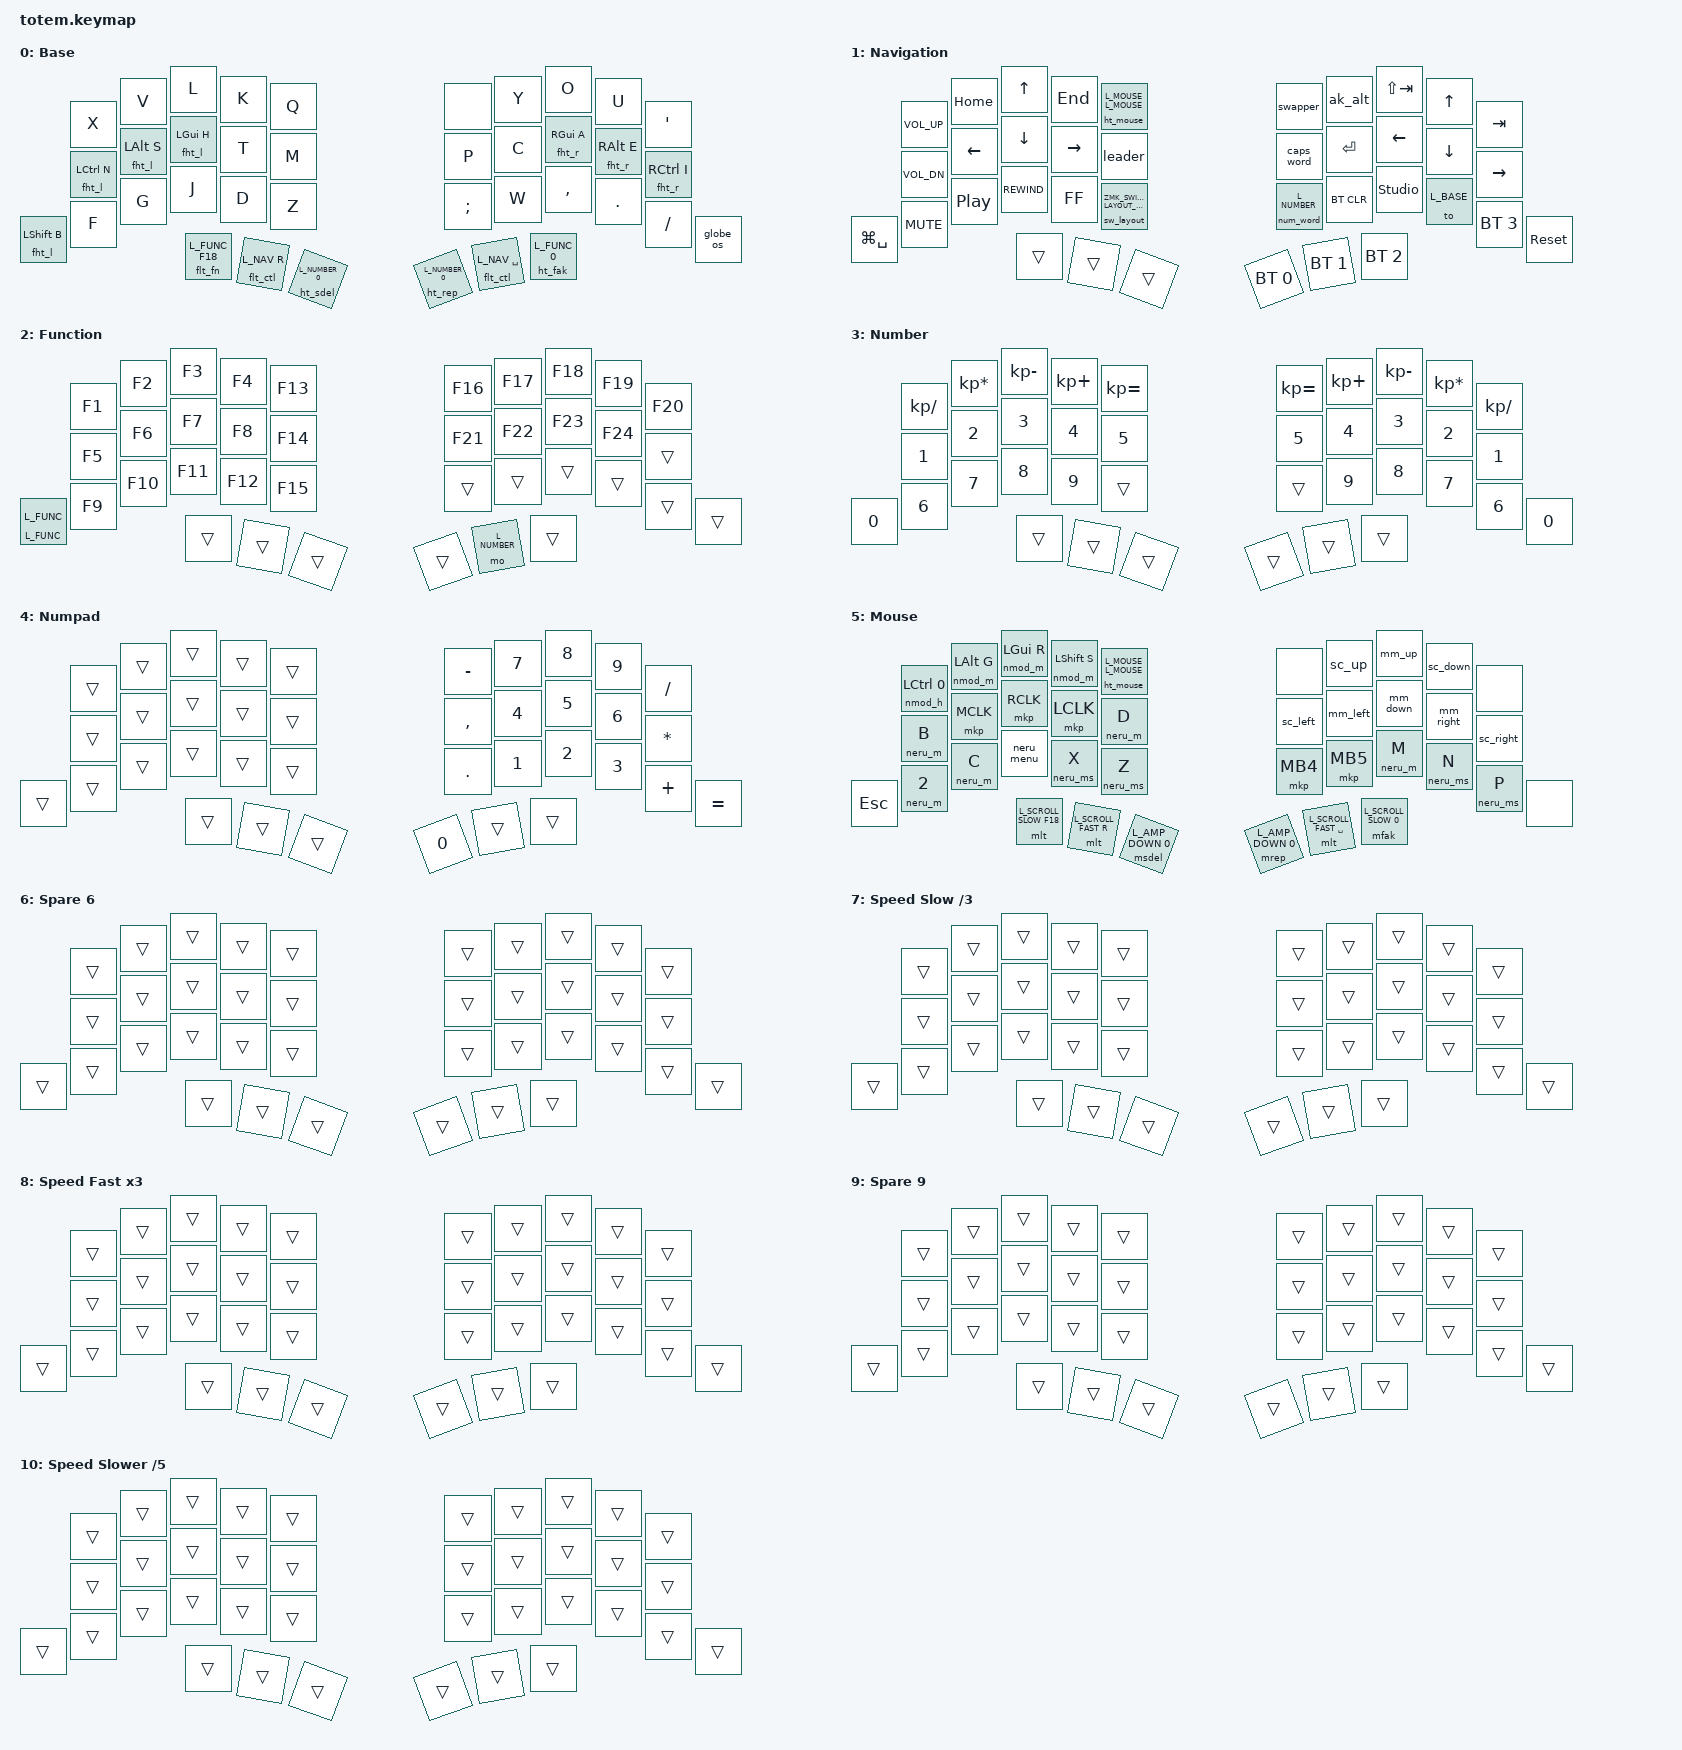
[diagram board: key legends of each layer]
/*
 * TOTEM (GEIGEIGEIST, 38 keys, XIAO nRF52840) — Flask port of the Cyboard
 * Imprint keymap (Cyboard-ZMK flask-parity, config/imprint.keymap).
 * Every non-pointing feature carries over; trackball/mouse/RGB parts are
 * dropped (no balls, no LED strip). Relocations: README.md.
 *
 * Key positions (transform order):
 *          0  1  2  3  4      5  6  7  8  9
 *         10 11 12 13 14     15 16 17 18 19
 *      20 21 22 23 24 25     26 27 28 29 30 31
 *               32 33 34     35 36 37
 */

/* ===== MOUSE / SCROLL TUNING =====
 * Speed, ramp and acceleration are LIVE: the Flask app's Mouse tab (channel
 * 0x2D, zmk-flask-modules flask_mousekeys) changes them on the board and
 * Save persists them. The values here are the boot defaults until a Save,
 * plus the compiled max rate (*_SPEED_PCT), which is a rebuild.
 * Units (ZMK 484a054, behavior_input_two_axis.c): &mmv/&msc report
 * "speed" per second at 16 ms ticks (trigger-period-ms default 16). Move speed
 * is HID counts/second (macOS applies its own pointer curve on top; 1800 is
 * roughly a screen width per second). Scroll speed is wheel notches/second
 * (about 1 line each; smooth scrolling is off). &mmv/&msc themselves run at
 * that max rate with no ramp; the flask_mk_* processors below scale it by a
 * live percent (app default 100) and ramp it from FLOOR to full over RAMP_MS as
 * FLOOR + (100-FLOOR)% * (t/RAMP_MS)^EXP; EXP 0 = no ramp, 1 = linear, 2 = quadratic, 3 = cubic.
 * The live percent goes up to 400, so a 400% app setting = 4x the rate here.
 * SPEED_PCT must be defined BEFORE pointing.h (defaults there: 600 move, 10 scroll). */
#define MOUSE_SPEED_PCT   100   /* compiled: 100% = 1800 counts/s */
#define MOUSE_FLOOR_PCT   40    /* boot default: start speed, % of full speed (0 = ramp from zero) */
#define SCROLL_FLOOR_PCT  0     /* boot default: scroll start speed, % (0 = unchanged) */
#define MOUSE_RAMP_MS     600   /* boot default: time to reach full speed */
#define MOUSE_ACCEL_EXP   1     /* boot default: 0 uniform, 1 linear, 2 quadratic, 3 cubic */
#define SCROLL_SPEED_PCT  100   /* compiled: 100% = 20 notches/s */
#define SCROLL_RAMP_MS    150   /* boot default */
#define SCROLL_ACCEL_EXP  0     /* boot default: constant speed, a short tap still scrolls >= 1 notch */
/* Stacking speed holds (L_MOUSE thumbs), shared by pointer and scroll. Outer
 * = /SPEED_STEP, middle = xSPEED_STEP, inner = /AMP_STEP; any held combination
 * multiplies (outer+inner = /15). */
#define SPEED_STEP  3
#define AMP_STEP    5

/* Derived, do not edit. */
#define ZMK_POINTING_DEFAULT_MOVE_VAL (1800 * MOUSE_SPEED_PCT / 100)
#define ZMK_POINTING_DEFAULT_SCRL_VAL (20 * SCROLL_SPEED_PCT / 100)

#include <behaviors.dtsi>
#include <dt-bindings/zmk/pointing.h>
#include <input/processors.dtsi>
#include <dt-bindings/zmk/bt.h>
#include <dt-bindings/zmk/keys.h>
#include <dt-bindings/zmk/outputs.h>
#include <dt-bindings/zmk-switch-layout/switch-layout.h>

/* Layer IDs = devicetree node order below (Studio stores per-layer overrides
 * by id, so never reorder the layer nodes). AJ's names: Navigation (was
 * Control), Function (was Fn), Number (was Sym; digits + keypad ops),
 * Numpad (was Num; removed on AJ's board in Studio 2026-10-03, node kept so
 * later ids don't shift). &num_word now targets Number.
 * Order note: the board shows Number before Function because Studio's saved
 * layer order is 0,1,3,2,4. After a settings reset the order follows the ids
 * (Function at index 2, Number at 3) unless it is reordered again in Studio. */
#define L_BASE    0
#define L_NAV     1
#define L_FUNC    2
#define L_NUMBER  3
#define L_NUMPAD  4   /* removed on AJ's board in Studio 2026-10-03, unused; kept so IDs 5-10 don't shift */
#define L_MOUSE      5
#define L_MOUSE_SLOW 6
#define L_SCROLL_SLOW 7   /* reused spare1 */
#define L_SCROLL_FAST 8   /* reused spare2 */
#define L_AMP_UP      9   /* reused spare3 */
#define L_AMP_DOWN    10  /* reused spare4 */

/* Opposite-hand positions for the positional home-row/thumb hold-taps. */
#define KEYS_L 0 1 2 3 4 10 11 12 13 14 20 21 22 23 24 25 32 33 34
#define KEYS_R 5 6 7 8 9 15 16 17 18 19 26 27 28 29 30 31 35 36 37

/* Hold triggers for the live fht_l / fht_r: the opposite hand plus the
 * same-hand fht keys (20, 32-34 left; 31, 35-37 right), so a same-hand
 * thumb-mod chord (Ctrl+Shift) still holds. */
#define FHT_TRIG_L KEYS_R 20 32 33 34
#define FHT_TRIG_R KEYS_L 31 35 36 37

/* Navigation-layer nav keys the app switcher ignores (see swapper below). */
#define SWAP_NAV 6 7 8 9 16 17 18 19

/* OS mode = switch-layout index (mctechnology17/zmk-switch-layout), stored in
 * settings so it survives reboot/reflash. slk_* behaviors below pick the
 * right chord per OS; &sw_layout OS_NEXT (Navigation layer, position 25)
 * toggles. */
#define OS_PC  0
#define OS_MAC 1
#define OS_NEXT ZMK_SWITCH_LAYOUT_NEXT

&mt {
    quick-tap-ms = <150>;
    flavor = "tap-preferred";
};

/* Mouse move/scroll: the behaviors emit their compiled max rate at once
 * (time-to-max-speed-ms 0 = no ramp, behavior_input_two_axis.c speed()); the
 * live speed and ramp are the flask_mk_* processors on the listeners' base
 * chains below. */
&mmv {
    time-to-max-speed-ms = <0>;
};

&msc {
    time-to-max-speed-ms = <0>;
};

/ {
    /* Live speed % + ramp (Flask channel 0x2D). gap-ms: a quiet period this
     * long ends a movement, so the next event restarts the ramp. &mmv reports
     * every 16 ms tick while held; &msc at 20 notches/s reports a notch every
     * 3-4 ticks (48-64 ms), hence the longer scroll gap. */
    flask_mk_pointer: flask_mk_pointer {
        compatible = "zmk,input-processor-flask-mousekeys";
        #input-processor-cells = <0>;
        ramp-ms = <MOUSE_RAMP_MS>;
        exponent = <MOUSE_ACCEL_EXP>;
        floor-pct = <MOUSE_FLOOR_PCT>;
        gap-ms = <60>;
    };

    flask_mk_scroll: flask_mk_scroll {
        compatible = "zmk,input-processor-flask-mousekeys";
        #input-processor-cells = <0>;
        scroll;
        ramp-ms = <SCROLL_RAMP_MS>;
        exponent = <SCROLL_ACCEL_EXP>;
        floor-pct = <SCROLL_FLOOR_PCT>;
        gap-ms = <120>;
    };
};

/* Shared stacking speed holds (L_MOUSE thumbs). Three speed layers, each
 * scales the pointer AND scroll the same way:
 *   L_SCROLL_SLOW  /SPEED_STEP   (outer thumbs)
 *   L_SCROLL_FAST  xSPEED_STEP   (middle thumbs)
 *   L_AMP_DOWN     /AMP_STEP     (inner thumbs)
 * Listener overrides are applied in order; for every override whose layer is
 * active the processors run, then it STOPS unless process-next is set, and
 * with process-next the result feeds the next override and finally the base
 * processors (app/src/pointing/input_listener.c filter_with_input_config()).
 * Every override sets process-next, so all held speed layers multiply, in any
 * order: outer+inner = /15, middle+inner = x3/5, outer+middle = x1.
 * Each speed layer is all &trans, so a thumb pressed while another is held
 * falls through to its own L_MOUSE binding and joins the stack.
 * zip_*_scaler takes mul/div as plain integers and tracks remainders, so
 * small steps are not lost (app/src/pointing/input_processor_scaler.c).
 * The base chain (flask_mk_*: live speed + ramp) runs after the overrides,
 * so the thumb steps multiply on top of the app's speed. */
&mmv_input_listener {
    input-processors = <&flask_mk_pointer>;

    slow {
        layers = <L_SCROLL_SLOW>;
        process-next;
        input-processors = <&zip_xy_scaler 1 SPEED_STEP>;
    };

    fast {
        layers = <L_SCROLL_FAST>;
        process-next;
        input-processors = <&zip_xy_scaler SPEED_STEP 1>;
    };

    slower {
        layers = <L_AMP_DOWN>;
        process-next;
        input-processors = <&zip_xy_scaler 1 AMP_STEP>;
    };
};

&msc_input_listener {
    input-processors = <&flask_mk_scroll>;

    slow {
        layers = <L_SCROLL_SLOW>;
        process-next;
        input-processors = <&zip_scroll_scaler 1 SPEED_STEP>;
    };

    fast {
        layers = <L_SCROLL_FAST>;
        process-next;
        input-processors = <&zip_scroll_scaler SPEED_STEP 1>;
    };

    slower {
        layers = <L_AMP_DOWN>;
        process-next;
        input-processors = <&zip_scroll_scaler 1 AMP_STEP>;
    };
};

/ {
    /* Physical layout comes from the vendored shield (totem.dtsi). */

    behaviors {
        hm_l_ctrl: hm_l_ctrl {
            compatible = "zmk,behavior-hold-tap";
            label = "HM_L_CTRL";
            #binding-cells = <2>;
            bindings = <&kp>, <&kp>;

            tapping-term-ms = <280>;
            quick-tap-ms = <175>;
            require-prior-idle-ms = <150>;
            flavor = "balanced";
            hold-trigger-on-release;
            hold-trigger-key-positions = <KEYS_R>;
        };

        hm_l_alt: hm_l_alt {
            compatible = "zmk,behavior-hold-tap";
            label = "HM_L_ALT";
            #binding-cells = <2>;
            bindings = <&kp>, <&kp>;

            tapping-term-ms = <280>;
            quick-tap-ms = <175>;
            require-prior-idle-ms = <150>;
            flavor = "balanced";
            hold-trigger-on-release;
            hold-trigger-key-positions = <KEYS_R>;
        };

        hm_l_gui: hm_l_gui {
            compatible = "zmk,behavior-hold-tap";
            label = "HM_L_GUI";
            #binding-cells = <2>;
            bindings = <&kp>, <&kp>;

            tapping-term-ms = <280>;
            quick-tap-ms = <175>;
            require-prior-idle-ms = <150>;
            flavor = "tap-preferred";
            hold-trigger-key-positions = <KEYS_R>;
            hold-trigger-on-release;
        };

        hm_l_shft: hm_l_shft {
            compatible = "zmk,behavior-hold-tap";
            label = "HM_L_SHFT";
            #binding-cells = <2>;
            bindings = <&kp>, <&kp>;

            tapping-term-ms = <280>;
            quick-tap-ms = <175>;
            require-prior-idle-ms = <150>;
            flavor = "balanced";
            hold-trigger-on-release;
            hold-trigger-key-positions = <KEYS_R>;
        };

        ak_rti: ak_rti {
            compatible = "zmk,behavior-adaptive-key";
            label = "AK_RTI";
            #binding-cells = <0>;
            bindings = <&key_repeat>;

            rti_a {
                trigger-keys = <A>;
                max-prior-idle-ms = <500>;
                bindings = <&kp O>;
            };

            rti_b {
                trigger-keys = <B>;
                max-prior-idle-ms = <500>;
                bindings = <&kp E &kp C &kp A &kp U &kp S &kp E>;
            };

            rti_e {
                trigger-keys = <E>;
                max-prior-idle-ms = <500>;
                bindings = <&kp U>;
            };

            rti_g {
                trigger-keys = <G>;
                max-prior-idle-ms = <500>;
                bindings = <&kp I &kp N &kp G>;
            };

            rti_h {
                trigger-keys = <H>;
                max-prior-idle-ms = <500>;
                bindings = <&kp I &kp C &kp H>;
            };

            rti_i {
                trigger-keys = <I>;
                max-prior-idle-ms = <500>;
                bindings = <&kp N &kp G>;
            };

            rti_j {
                trigger-keys = <J>;
                max-prior-idle-ms = <500>;
                bindings = <&kp U &kp S &kp T>;
            };

            rti_k {
                trigger-keys = <K>;
                max-prior-idle-ms = <500>;
                bindings = <&kp I &kp N &kp G>;
            };

            rti_l {
                trigger-keys = <L>;
                max-prior-idle-ms = <500>;
                bindings = <&kp O &kp N &kp G>;
            };

            rti_m {
                trigger-keys = <M>;
                max-prior-idle-ms = <500>;
                bindings = <&kp E &kp N &kp T>;
            };

            rti_n {
                trigger-keys = <N>;
                max-prior-idle-ms = <500>;
                bindings = <&kp I &kp O &kp N>;
            };

            rti_o {
                trigger-keys = <O>;
                max-prior-idle-ms = <500>;
                bindings = <&kp U &kp L &kp D>;
            };

            rti_p {
                trigger-keys = <P>;
                max-prior-idle-ms = <500>;
                bindings = <&kp E &kp O &kp P &kp L &kp E>;
            };

            rti_q {
                trigger-keys = <Q>;
                max-prior-idle-ms = <500>;
                bindings = <&kp U>;
            };

            rti_t {
                trigger-keys = <T>;
                max-prior-idle-ms = <500>;
                bindings = <&kp I &kp O &kp N>;
            };

            rti_u {
                trigger-keys = <U>;
                max-prior-idle-ms = <500>;
                bindings = <&kp I>;
            };

            rti_v {
                trigger-keys = <V>;
                max-prior-idle-ms = <500>;
                bindings = <&kp S>;
            };

            rti_y {
                trigger-keys = <Y>;
                max-prior-idle-ms = <500>;
                bindings = <&kp O &kp U>;
            };

            rti_space {
                trigger-keys = <SPACE>;
                max-prior-idle-ms = <500>;
                bindings = <&kp T &kp H &kp E>;
            };

            rti_sentence {
                trigger-keys = <DOT QMARK EXCL>;
                max-prior-idle-ms = <500>;
                bindings = <&kp SPACE &sk LSHFT>;
            };

            /* Was BSPC -> &slk_wbspc / DEL -> &slk_wdel. Removed 2026-10-03:
             * Super Delete presses the same slk keys, and fak + it holding
             * one at once left Backspace stuck. These two now equal the
             * fallback (plain Key Repeat) and stay only as placeholders:
             * fak_defaults seeds &fak rules by position (these are rules
             * 22-23), so deleting them would shift ak_alt's rules 24-34
             * onto indexes that may hold saved app edits. */
            rti_bspc {
                trigger-keys = <BSPC>;
                bindings = <&key_repeat>;
            };

            rti_del {
                trigger-keys = <DEL>;
                bindings = <&key_repeat>;
            };
        };

        /* Second adaptive key (urob/zmk-adaptive-key): the QMK Alt Repeat —
         * taps the REVERSE companion of the last key (→ after ←, PgDn after
         * PgUp, ⇧Tab after Tab, closing bracket after opening). No
         * max-prior-idle: works whenever. Falls back to plain repeat. More
         * of these can coexist (ak_rti = completions, ak_alt = reversals). */
        ak_alt: ak_alt {
            compatible = "zmk,behavior-adaptive-key";
            label = "AK_ALT";
            #binding-cells = <0>;
            bindings = <&key_repeat>;

            alt_left    { trigger-keys = <LEFT>;  bindings = <&kp RIGHT>; };
            alt_right   { trigger-keys = <RIGHT>; bindings = <&kp LEFT>; };
            alt_up      { trigger-keys = <UP>;    bindings = <&kp DOWN>; };
            alt_down    { trigger-keys = <DOWN>;  bindings = <&kp UP>; };
            alt_pgup    { trigger-keys = <PG_UP>; bindings = <&kp PG_DN>; };
            alt_pgdn    { trigger-keys = <PG_DN>; bindings = <&kp PG_UP>; };
            alt_home    { trigger-keys = <HOME>;  bindings = <&kp END>; };
            alt_end     { trigger-keys = <END>;   bindings = <&kp HOME>; };
            alt_tab     { trigger-keys = <TAB>;   bindings = <&kp LS(TAB)>; };
            alt_lbkt    { trigger-keys = <LBKT>;  bindings = <&kp RBKT>; };
            alt_rbkt    { trigger-keys = <RBKT>;  bindings = <&kp LBKT>; };
        };

        /* Smart num layer (urob/zmk-auto-layer): &num_word L_NUMBER latches
         * the Number layer; digits and the continue-list (incl. the Number
         * layer's keypad operators) keep it alive, anything else drops back. */
        num_word: num_word {
            compatible = "zmk,behavior-auto-layer";
            #binding-cells = <1>;
            display-name = "Num Word";
            continue-list = <BSPC DEL DOT COMMA PLUS MINUS STAR FSLH EQUAL
                             KP_DIVIDE KP_MULTIPLY KP_MINUS KP_PLUS KP_EQUAL>;
            ignore-numbers;
        };

        /* App switcher (urob/zmk-tri-state): tap = mod+Tab and the mod STAYS
         * HELD; more taps cycle; any non-ignored key press (or releasing the
         * Navigation layer) drops the mod and commits. OS-aware since 2026-07-08:
         * &swapper is a switch-layout-key wrapping two tri-states — ⌘ on mac,
         * Alt on PC — following the same persisted &sw_layout OS_NEXT toggle
         * as every slk_* key (ZMK has no host-OS auto-detection; zmk#2553).
         * Ignored positions (SWAP_NAV) = Navigation's top-right row (6-9:
         * ⇧Tab/Up/Tab, wherever the live keymap put them; AJ's has ⇧Tab at 6)
         * and Enter/arrows (16-19) so the app grid can be navigated mid-swap.
         * ⇧Tab (7) doubles as the reverse key: shift applies to whichever
         * mod the swapper holds, so one reverse key serves both OSes. (The
         * Imprint's separate reverse key on its number row has no room on
         * 38 keys.) */
        swapper_mac: swapper_mac {
            compatible = "zmk,behavior-tri-state";
            label = "SWAPPER_MAC";
            #binding-cells = <0>;
            bindings = <&kt LGUI>, <&kp TAB>, <&kt LGUI>;
            ignored-key-positions = <SWAP_NAV>;
        };

        swapper_win: swapper_win {
            compatible = "zmk,behavior-tri-state";
            label = "SWAPPER_WIN";
            #binding-cells = <0>;
            bindings = <&kt LALT>, <&kp TAB>, <&kt LALT>;
            ignored-key-positions = <SWAP_NAV>;
        };

        swapper: swapper {
            compatible = "zmk-switch-layout,behavior-switch-layout-key";
            display-name = "App Switcher (OS)";
            #binding-cells = <0>;
            bindings = <&swapper_win>, <&swapper_mac>;
        };

        /* &swapper itself has no parameter metadata (switch-layout-key), so
         * Studio and the Flask app cannot assign it. A mod-morph has
         * metadata (no params), so this pass-through wrapper is the
         * assignable App Switcher: both branches run &swapper, Shift rides
         * through (the reverse direction). */
        swap_any: swap_any {
            compatible = "zmk,behavior-mod-morph";
            display-name = "App Switcher";
            #binding-cells = <0>;
            bindings = <&swapper>, <&swapper>;
            mods = <(MOD_LSFT|MOD_RSFT)>;
            keep-mods = <(MOD_LSFT|MOD_RSFT)>;
        };

        as_ht: as_ht {
            compatible = "zmk,behavior-hold-tap";
            label = "AS_HT";
            bindings = <&shift>, <&kp>;

            #binding-cells = <2>;
            tapping-term-ms = <200>;
            flavor = "tap-preferred";
        };

        bdel: bdel {
            compatible = "zmk,behavior-mod-morph";
            display-name = "Backspace/Delete";
            label = "BDEL";
            bindings = <&kp BSPC>, <&kp DEL>;

            #binding-cells = <0>;
            mods = <(MOD_LSFT|MOD_RSFT)>;
            keep-mods = <(MOD_LCTL|MOD_LALT|MOD_RCTL|MOD_LGUI|MOD_RALT|MOD_RGUI)>;
        };

        /* Super Delete steps as mod-morphs like bdel: Shift (masked out)
         * turns the step into forward delete, other held mods ride through.
         * Word/line are OS-aware (slk_*): Mac Opt+BSPC / Cmd+BSPC, Windows
         * Ctrl+BSPC for both (no Cmd). */
        wdel_mm: wdel_mm {
            compatible = "zmk,behavior-mod-morph";
            display-name = "Word Backspace/Delete";
            #binding-cells = <0>;
            bindings = <&slk_wbspc>, <&slk_wdel>;
            mods = <(MOD_LSFT|MOD_RSFT)>;
            keep-mods = <(MOD_LCTL|MOD_LALT|MOD_RCTL|MOD_LGUI|MOD_RALT|MOD_RGUI)>;
        };

        ldel_mm: ldel_mm {
            compatible = "zmk,behavior-mod-morph";
            display-name = "Line Backspace/Delete";
            #binding-cells = <0>;
            bindings = <&slk_lbspc>, <&slk_ldel>;
            mods = <(MOD_LSFT|MOD_RSFT)>;
            keep-mods = <(MOD_LCTL|MOD_LALT|MOD_RCTL|MOD_LGUI|MOD_RALT|MOD_RGUI)>;
        };

        /* Super Delete (&sdel_td): an eager runtime tap dance on fixed slot
         * 15 (flask_tapdance). Tap 1 = Backspace the instant it is pressed;
         * tap 2 within 400 ms (press to press) = word delete; tap 3+ = line
         * delete. Holding any step holds that key (OS auto-repeat). A pause
         * over 400 ms or another key starts the chain over. Shift morphs
         * each step to forward delete (bdel / wdel_mm / ldel_mm). Seeded by
         * td_defaults below; editable from the app (slot 15) after that. No
         * binding cell, so it can sit on a hold-tap's tap side. */
        sdel_td: sdel_td {
            compatible = "zmk,behavior-flask-tapdance-slot";
            #binding-cells = <0>;
            display-name = "Super Delete";
            slot = <15>;
        };

        th_r_rep: th_r_rep {
            compatible = "zmk,behavior-hold-tap";
            label = "TH_R_REP";
            bindings = <&kp>, <&key_repeat>;

            #binding-cells = <2>;
            tapping-term-ms = <180>;
            flavor = "hold-preferred";
            quick-tap-ms = <150>;
            require-prior-idle-ms = <165>;
            hold-trigger-key-positions = <KEYS_L>;
        };

        hm_r_ctrl: hm_r_ctrl {
            compatible = "zmk,behavior-hold-tap";
            label = "HM_R_CTRL";
            #binding-cells = <2>;
            bindings = <&kp>, <&kp>;

            tapping-term-ms = <280>;
            quick-tap-ms = <175>;
            require-prior-idle-ms = <150>;
            flavor = "balanced";
            hold-trigger-on-release;
            hold-trigger-key-positions = <KEYS_L>;
        };

        hm_r_gui: hm_r_gui {
            compatible = "zmk,behavior-hold-tap";
            label = "HM_R_GUI";
            #binding-cells = <2>;
            bindings = <&kp>, <&kp>;

            tapping-term-ms = <280>;
            quick-tap-ms = <175>;
            require-prior-idle-ms = <150>;
            flavor = "tap-preferred";
            hold-trigger-on-release;
            hold-trigger-key-positions = <KEYS_L>;
        };

        hm_r_shift: hm_r_shift {
            compatible = "zmk,behavior-hold-tap";
            label = "HM_R_SHIFT";
            #binding-cells = <2>;
            bindings = <&kp>, <&kp>;

            tapping-term-ms = <280>;
            quick-tap-ms = <175>;
            require-prior-idle-ms = <150>;
            flavor = "balanced";
            hold-trigger-on-release;
            hold-trigger-key-positions = <KEYS_L>;
        };

        /* Live-timing hold-taps (zmk-flask-modules flask_holdtap, Flask
         * channel 0x2A, proto v17). Core hold-tap semantics, but term /
         * flavor / quick-tap / prior-idle come from a runtime slot PER KEY
         * POSITION, so the configurator's per-key slider retunes them
         * without a reflash. Positional rule compiled per node (the
         * boot rule, "mode 0" of value 0x53, which can override it per
         * slot): fht_l = left-hand keys, fht_r = right-hand keys. The
         * first other key counts at its PRESS (no
         * hold-trigger-on-release): a same-hand plain key pressed while
         * the hold-tap is undecided forces TAP even if the term runs out
         * first; an opposite-hand key or a same-hand fht key (thumb-mod
         * chords) allows HOLD (FHT_TRIG_L / FHT_TRIG_R). fht = no positional
         * rule (for Studio assignment anywhere). Boot timing per
         * position: flask_holdtap_defaults below; the hm_* nodes above
         * are the compiled originals, kept for reverting from Studio. */
        fht_l: fht_l {
            compatible = "zmk,behavior-flask-hold-tap";
            #binding-cells = <2>;
            display-name = "Hold-Tap L (live)";
            bindings = <&kp>, <&kp>;
            hold-trigger-key-positions = <FHT_TRIG_L>;
        };

        fht_r: fht_r {
            compatible = "zmk,behavior-flask-hold-tap";
            #binding-cells = <2>;
            display-name = "Hold-Tap R (live)";
            bindings = <&kp>, <&kp>;
            hold-trigger-key-positions = <FHT_TRIG_R>;
        };

        fht: fht {
            compatible = "zmk,behavior-flask-hold-tap";
            #binding-cells = <2>;
            display-name = "Hold-Tap (live)";
            bindings = <&kp>, <&kp>;
        };

        /* Modifier hold + ADAPTIVE tap: &fhta_r <mods> <set> (set = the
         * &fak index 0-15, passed through as param2). Same positional rules
         * and per-key-position timing as fht_l / fht_r / fht. Not
         * retro-shift shaped (tap is &fak, not &kp), so autoshift skips it. */
        fhta_l: fhta_l {
            compatible = "zmk,behavior-flask-hold-tap";
            #binding-cells = <2>;
            display-name = "Hold-Tap L / Adaptive";
            bindings = <&kp>, <&fak>;
            hold-trigger-key-positions = <FHT_TRIG_L>;
        };

        fhta_r: fhta_r {
            compatible = "zmk,behavior-flask-hold-tap";
            #binding-cells = <2>;
            display-name = "Hold-Tap R / Adaptive";
            bindings = <&kp>, <&fak>;
            hold-trigger-key-positions = <FHT_TRIG_R>;
        };

        fhta: fhta {
            compatible = "zmk,behavior-flask-hold-tap";
            #binding-cells = <2>;
            display-name = "Hold-Tap / Adaptive";
            bindings = <&kp>, <&fak>;
        };

        /* Every hold-tap the keymap binds runs on the flask engine: two
         * hold-tap engines side by side lose keys (a core hold-tap replays
         * past the flask listener). These replace the bound core &lt / &mt /
         * as_ht and read VIRTUAL slots (38+) instead of a key position, so
         * a combo never borrows a thumb's timing. Defaults = the core values
         * they replace (flask_holdtap_defaults below). The core nodes stay
         * defined, unbound, for Studio. flt_ctl = base middle thumbs 33 / 36
         * (&flt_ctl L_NAV R / SPACE), both on slot 38. */
        flt_ctl: flt_ctl {
            compatible = "zmk,behavior-flask-hold-tap";
            #binding-cells = <2>;
            display-name = "Layer-Tap Navigation (live)";
            bindings = <&mo>, <&kp>;
            slot = <38>;
        };

        flt_fn: flt_fn {
            compatible = "zmk,behavior-flask-hold-tap";
            #binding-cells = <2>;
            display-name = "Layer-Tap Function (live)";
            bindings = <&mo>, <&kp>;
            slot = <39>;
        };

        fmt_copy: fmt_copy {
            compatible = "zmk,behavior-flask-hold-tap";
            #binding-cells = <2>;
            display-name = "Mod-Tap copy/cut combo (live)";
            bindings = <&kp>, <&kp>;
            slot = <40>;
        };

        fmt_undo: fmt_undo {
            compatible = "zmk,behavior-flask-hold-tap";
            #binding-cells = <2>;
            display-name = "Mod-Tap undo/redo combo (live)";
            bindings = <&kp>, <&kp>;
            slot = <41>;
        };

        fmt_nav: fmt_nav {
            compatible = "zmk,behavior-flask-hold-tap";
            #binding-cells = <2>;
            display-name = "Mod-Tap Fn arrows (live)";
            bindings = <&kp>, <&kp>;
            slot = <42>;
        };

        fas_ht: fas_ht {
            compatible = "zmk,behavior-flask-hold-tap";
            #binding-cells = <2>;
            display-name = "Autoshift (live)";
            bindings = <&shift>, <&kp>;
            slot = <43>;
        };

        /* Tap-leaning layer hold-taps, Studio-assignable: &ht_sdel <layer> 0
         * and &ht_rep <layer> 0 (param2 is a dummy; the tap binding takes
         * no cell). Flask engine, virtual slots 44 / 45: 280 ms term,
         * tap-preferred, quick-tap 400 ms, prior-idle 150 ms. First press
         * held past 280 ms = layer; a tap = Super Delete / Repeat; a press
         * within 400 ms of the last press of the same key is a forced tap
         * on press (word / line delete, holdable for OS repeat), never a
         * layer. A press within 150 ms of a typed key is a tap. */
        ht_sdel: ht_sdel {
            compatible = "zmk,behavior-flask-hold-tap";
            #binding-cells = <2>;
            display-name = "Super Delete / Layer";
            bindings = <&mo>, <&sdel_td>;
            slot = <44>;
        };

        /* Same timing as ht_sdel, tap = Repeat (virtual slot 45). */
        ht_rep: ht_rep {
            compatible = "zmk,behavior-flask-hold-tap";
            #binding-cells = <2>;
            display-name = "Repeat / Layer";
            bindings = <&mo>, <&key_repeat>;
            slot = <45>;
        };

        /* Same timing as ht_sdel, tap = runtime adaptive key (virtual slot
         * 47). &fak takes one cell (the set index), so Studio usage is
         * &ht_fak <layer> 0: param2 is passed through to &fak as the set. */
        ht_fak: ht_fak {
            compatible = "zmk,behavior-flask-hold-tap";
            #binding-cells = <2>;
            display-name = "Adaptive Key / Layer";
            bindings = <&mo>, <&fak>;
            slot = <47>;
        };

        /* Mouse layer key: tap = toggle L_MOUSE, hold = momentary L_MOUSE
         * (&ht_mouse L_MOUSE L_MOUSE). Flask engine, virtual slot 46:
         * balanced, 200 ms term, no quick-tap, no prior-idle. */
        ht_mouse: ht_mouse {
            compatible = "zmk,behavior-flask-hold-tap";
            #binding-cells = <2>;
            display-name = "Mouse Layer";
            bindings = <&mo>, <&tog>;
            slot = <46>;
        };

        /* Mouse-layer speed thumbs: hold = speed layer, tap = the key that
         * thumb taps on Base (F18 / R / Super Delete | Repeat / Space /
         * Adaptive Key), so the pinky never has to relearn Space. All four
         * share virtual slot 48: hold-preferred, 200 ms term, quick-tap 150,
         * prior-idle 0. Any other key pressed while the thumb is down = hold
         * at once (hold a speed thumb, press move/scroll, the speed applies
         * immediately); a lone tap = the tap key. Usage: &mlt <layer> <key>,
         * &msdel / &mrep / &mfak <layer> 0 (param2 is a dummy; &mfak passes
         * it to &fak as the set). */
        mlt: mlt {
            compatible = "zmk,behavior-flask-hold-tap";
            #binding-cells = <2>;
            display-name = "Mouse Layer-Tap";
            bindings = <&mo>, <&kp>;
            slot = <48>;
        };

        msdel: msdel {
            compatible = "zmk,behavior-flask-hold-tap";
            #binding-cells = <2>;
            display-name = "Mouse Hold / Super Delete";
            bindings = <&mo>, <&sdel_td>;
            slot = <48>;
        };

        mrep: mrep {
            compatible = "zmk,behavior-flask-hold-tap";
            #binding-cells = <2>;
            display-name = "Mouse Hold / Repeat";
            bindings = <&mo>, <&key_repeat>;
            slot = <48>;
        };

        mfak: mfak {
            compatible = "zmk,behavior-flask-hold-tap";
            #binding-cells = <2>;
            display-name = "Mouse Hold / Adaptive Key";
            bindings = <&mo>, <&fak>;
            slot = <48>;
        };

        /* Leader / Shift: tap = Leader, hold = Shift (&lsft LSHFT 0; param2
         * is a dummy, &leader takes no cell). Virtual slot 49: balanced,
         * 200 ms term, quick-tap 150, prior-idle 150. Not bound anywhere;
         * assign from Totem-Flask. */
        lsft: lsft {
            compatible = "zmk,behavior-flask-hold-tap";
            #binding-cells = <2>;
            display-name = "Leader / Shift";
            bindings = <&kp>, <&leader>;
            slot = <49>;
        };

        /* Mouse-layer Neru keys with a modifier on hold (so Cmd/Shift/etc.
         * + click still works on L_MOUSE): tap = the Neru action, hold =
         * the modifier. Both share virtual slot 50: balanced, 200 ms term,
         * quick-tap 150, prior-idle 0. The hold side is a plain &kp, so it
         * never runs the macro's &to L_BASE; only a tap does. Usage:
         * &nmod_h LCTRL 0 (neru_hints takes no cell, param2 is a dummy),
         * &nmod_m LALT G (param2 reaches neru_m's one macro param). */
        nmod_h: nmod_h {
            compatible = "zmk,behavior-flask-hold-tap";
            #binding-cells = <2>;
            display-name = "Mod / Neru Hints";
            bindings = <&kp>, <&neru_hints>;
            slot = <50>;
        };

        nmod_m: nmod_m {
            compatible = "zmk,behavior-flask-hold-tap";
            #binding-cells = <2>;
            display-name = "Mod / Neru Menu Key";
            bindings = <&kp>, <&neru_m>;
            slot = <50>;
        };

        sl_mo: sl_mo {
            compatible = "zmk,behavior-hold-tap";
            label = "SL_MO";
            bindings = <&mo>, <&sl>;

            #binding-cells = <2>;
            tapping-term-ms = <200>;
            quick-tap-ms = <150>;
            flavor = "balanced";
        };

        leader: leader {
            compatible = "zmk,behavior-leader-key";
            label = "LEADER";
            #binding-cells = <0>;

            email {
                sequence = <E M>;
                bindings = <&email_um>;
            };

            to_usb {
                sequence = <U>;
                bindings = <&out OUT_USB>;
            };

            to_ble {
                sequence = <B>;
                bindings = <&out OUT_BLE>;
            };
        };

        /* --- OS-aware shortcuts (zmk-switch-layout): index 0 = PC, 1 = mac.
         * Persisted in settings; swap with &sw_layout OS_NEXT. --- */
        sw_layout: sw_layout {
            compatible = "zmk-switch-layout,behavior-switch-layout-mode";
            display-name = "OS Layout Toggle";
            #binding-cells = <1>;
            layout-count = <2>;
            /* Only applies on a board with no saved setting (after a settings
             * wipe); the persisted choice wins otherwise. AJ is on Mac. */
            default-layout = <OS_MAC>;
        };

        slk_copycut: slk_copycut {
            compatible = "zmk-switch-layout,behavior-switch-layout-key";
            display-name = "Copy/Cut (OS)";
            #binding-cells = <0>;
            bindings = <&fmt_copy LC(X) LC(C)>, <&fmt_copy LG(X) LG(C)>;
        };

        slk_paste: slk_paste {
            compatible = "zmk-switch-layout,behavior-switch-layout-key";
            display-name = "Paste (OS)";
            #binding-cells = <0>;
            bindings = <&kp LC(V)>, <&kp LG(V)>;
        };

        slk_undoredo: slk_undoredo {
            compatible = "zmk-switch-layout,behavior-switch-layout-key";
            display-name = "Undo/Redo (OS)";
            #binding-cells = <0>;
            bindings = <&fmt_undo LC(Y) LC(Z)>, <&fmt_undo LG(LS(Z)) LG(Z)>;
        };

        slk_selall: slk_selall {
            compatible = "zmk-switch-layout,behavior-switch-layout-key";
            display-name = "Select All (OS)";
            #binding-cells = <0>;
            bindings = <&kp LC(A)>, <&kp LG(A)>;
        };

        slk_close: slk_close {
            compatible = "zmk-switch-layout,behavior-switch-layout-key";
            display-name = "Close Tab (OS)";
            #binding-cells = <0>;
            bindings = <&kp LC(W)>, <&kp LG(W)>;
        };

        slk_ntab: slk_ntab {
            compatible = "zmk-switch-layout,behavior-switch-layout-key";
            display-name = "New Tab (OS)";
            #binding-cells = <0>;
            bindings = <&kp LC(T)>, <&kp LG(T)>;
        };

        slk_wbspc: slk_wbspc {
            compatible = "zmk-switch-layout,behavior-switch-layout-key";
            display-name = "Word Backspace (OS)";
            #binding-cells = <0>;
            bindings = <&kp LC(BSPC)>, <&kp LA(BSPC)>;
        };

        slk_wdel: slk_wdel {
            compatible = "zmk-switch-layout,behavior-switch-layout-key";
            display-name = "Word Delete (OS)";
            #binding-cells = <0>;
            bindings = <&kp LC(DEL)>, <&kp LA(DEL)>;
        };

        /* Line delete for Super Delete: Cmd on mac, Ctrl (word delete) on PC. */
        slk_lbspc: slk_lbspc {
            compatible = "zmk-switch-layout,behavior-switch-layout-key";
            display-name = "Line Backspace (OS)";
            #binding-cells = <0>;
            bindings = <&kp LC(BSPC)>, <&kp LG(BSPC)>;
        };

        slk_ldel: slk_ldel {
            compatible = "zmk-switch-layout,behavior-switch-layout-key";
            display-name = "Line Delete (OS)";
            #binding-cells = <0>;
            bindings = <&kp LC(DEL)>, <&kp LG(DEL)>;
        };

        slk_home_down: slk_home_down {
            compatible = "zmk-switch-layout,behavior-switch-layout-key";
            display-name = "Home/Down (OS)";
            #binding-cells = <0>;
            bindings = <&fmt_nav HOME DOWN_ARROW>, <&fmt_nav LG(LEFT) DOWN_ARROW>;
        };

        slk_end_up: slk_end_up {
            compatible = "zmk-switch-layout,behavior-switch-layout-key";
            display-name = "End/Up (OS)";
            #binding-cells = <0>;
            bindings = <&fmt_nav END UP>, <&fmt_nav LG(RIGHT) UP>;
        };

        slk_wleft: slk_wleft {
            compatible = "zmk-switch-layout,behavior-switch-layout-key";
            display-name = "Word Left (OS)";
            #binding-cells = <0>;
            bindings = <&fmt_nav LC(LEFT) LEFT_ARROW>, <&fmt_nav LA(LEFT) LEFT_ARROW>;
        };

        slk_wright: slk_wright {
            compatible = "zmk-switch-layout,behavior-switch-layout-key";
            display-name = "Word Right (OS)";
            #binding-cells = <0>;
            bindings = <&fmt_nav LC(RIGHT) RIGHT>, <&fmt_nav LA(RIGHT) RIGHT>;
        };

        /* Any shortcut, one chord per OS: &osk <mac chord> <pc chord>
         * (zmk-flask-modules). Studio-assignable; the Flask app's
         * "OS shortcuts" section fills both params from its preset list. */
        osk: osk {
            compatible = "zmk,behavior-flask-os-key";
            display-name = "OS Shortcut";
            #binding-cells = <2>;
        };

        /* MacBook bottom-left key: Globe/Fn on mac, Ctrl+Alt+Win held on PC.
         * Not Studio-assignable itself; the app assigns &globe_os below. */
        slk_globe: slk_globe {
            compatible = "zmk-switch-layout,behavior-switch-layout-key";
            display-name = "Globe/Fn (OS)";
            #binding-cells = <0>;
            bindings = <&kp LC(LA(LGUI))>, <&kp GLOBE>;
        };

        /* Runtime macros (flask_macros, channel 0x25): &fmac <slot> plays a
         * live-editable macro slot (32 slots x 32 steps by default), edited from the Flask
         * app. Unbound by default — assign from Studio / the app's editor;
         * the node existing is what compiles the behavior in and puts it on
         * Studio's behavior list (slot range rides parameter metadata). */
        /* Runtime leader (flask_leader, channel 0x19): &fled opens a
         * capture matched against the app-edited sequence table. Unbound
         * by default — assign from Studio / the app. urob's &leader (the
         * compiled email/USB/BLE sequences) stays on its own key. */
        fled: fled {
            compatible = "zmk,behavior-flask-leader";
            #binding-cells = <0>;
            display-name = "Flask Leader";
        };

        fmac: fmac {
            compatible = "zmk,behavior-flask-macros";
            #binding-cells = <1>;
            display-name = "Flask Macro";
        };

        /* Runtime tap dance (flask_tapdance, channel 0x28, v14): &ftd <slot>
         * runs a live-editable dance — per-slot tapping term + one typed
         * output per tap count, all from the app's wizard. Unbound by
         * default — assign from Studio / the app; the node existing is what
         * compiles the behavior in (slot range rides parameter metadata). */
        ftd: ftd {
            compatible = "zmk,behavior-flask-tapdance";
            #binding-cells = <1>;
            display-name = "Tap Dance";
        };

        /* Runtime adaptive key (flask_adaptive, channel 0x2B, v18): &fak <set>
         * fires an output chosen by the last key typed — the same idea as
         * ak_rti / ak_alt above, but every rule is editable from the app.
         * Sets 0 and 1 are seeded from ak_rti / ak_alt by fak_defaults below;
         * sets 2-3 start empty. Unbound by default — assign from Studio / the
         * app (Keys > Run > Adaptive key). ak_rti and ak_alt stay compiled
         * and bound until the &fak keys replace them. */
        fak: fak {
            compatible = "zmk,behavior-flask-adaptive";
            #binding-cells = <1>;
            display-name = "Adaptive Key";
        };

        /* Composer tap-hold timing variants (v14, AJ's "behavior
         * modification settings" ask). Core hold-tap params are const DT —
         * not runtime-tunable — so the app's Tap-hold section offers a
         * TIMING choice among these precompiled instances instead: &mt
         * stays the core 200 ms (quick-tap 150 via the &mt override up
         * top), fast resolves at 150, slow at 300. Same two-param shape
         * Studio already renders for &mt. */
        mt_fast: mt_fast {
            compatible = "zmk,behavior-hold-tap";
            #binding-cells = <2>;
            display-name = "Mod-Tap (fast 150)";
            flavor = "tap-preferred";
            tapping-term-ms = <150>;
            quick-tap-ms = <125>;
            bindings = <&kp>, <&kp>;
        };

        mt_slow: mt_slow {
            compatible = "zmk,behavior-hold-tap";
            #binding-cells = <2>;
            display-name = "Mod-Tap (slow 300)";
            flavor = "tap-preferred";
            tapping-term-ms = <300>;
            quick-tap-ms = <175>;
            bindings = <&kp>, <&kp>;
        };

        lt_fast: lt_fast {
            compatible = "zmk,behavior-hold-tap";
            #binding-cells = <2>;
            display-name = "Layer-Tap (fast 150)";
            flavor = "tap-preferred";
            tapping-term-ms = <150>;
            quick-tap-ms = <125>;
            bindings = <&mo>, <&kp>;
        };

        lt_slow: lt_slow {
            compatible = "zmk,behavior-hold-tap";
            #binding-cells = <2>;
            display-name = "Layer-Tap (slow 300)";
            flavor = "tap-preferred";
            tapping-term-ms = <300>;
            quick-tap-ms = <175>;
            bindings = <&mo>, <&kp>;
        };

        /* --- Smart one-shot/hold (2026-07-10, AJ's ask) ---
         * Tri-state modifier/layer keys by composition: a hold-tap whose
         * HOLD binding is a sticky behavior.
         *   tap                                → the tap binding (any usage)
         *   hold past tapping-term, release
         *     with nothing else pressed        → ONE-SHOT (next key gets it)
         *   keep holding and type              → plain held modifier/layer
         * The one-shot window is skm's release-after-ms (1.5 s). Unbound by
         * default — Studio-assignable two-param behaviors, the same shape
         * Studio renders for &mt / &lt (param1 = mod / layer, param2 = tap
         * usage). */
        skm: skm {
            compatible = "zmk,behavior-sticky-key";
            #binding-cells = <1>;
            display-name = "Sticky Mod (smart)";
            release-after-ms = <1500>;
            bindings = <&kp>;
            ignore-modifiers; /* chain ⇧ then ⌘ as stacked one-shots */
        };

        smart_mod: smart_mod {
            compatible = "zmk,behavior-hold-tap";
            #binding-cells = <2>;
            display-name = "Smart Mod";
            flavor = "balanced";
            tapping-term-ms = <200>;
            quick-tap-ms = <175>;
            bindings = <&skm>, <&kp>;
        };

        /* Smart Layer, reworked to AJ's bench spec (2026-07-11): the param
         * is a LAYER on both sides —
         *   tap                  → &tog latches the layer (tap again on a
         *                          position that stays &trans to unlatch)
         *   brief hold + release → one-shot layer (next key), via &skl
         *   sustained hold       → layer while held
         * &skl is a dedicated NON-lazy sticky layer: the stock &sl carried
         * urob's `lazy` flag, which defers activation until the next key —
         * that's why the HUD didn't follow. Bind as &smart_layer L L (the
         * hold-tap needs the layer in both params; the app's composer fills
         * both from one picker). */
        skl: skl {
            compatible = "zmk,behavior-sticky-key";
            #binding-cells = <1>;
            display-name = "Sticky Layer (smart)";
            release-after-ms = <1500>;
            bindings = <&mo>;
            ignore-modifiers;
        };

        smart_layer: smart_layer {
            compatible = "zmk,behavior-hold-tap";
            #binding-cells = <2>;
            display-name = "Smart Layer";
            flavor = "balanced";
            tapping-term-ms = <200>;
            quick-tap-ms = <175>;
            bindings = <&skl>, <&tog>;
        };
    };

    /* Boot rules for &fak (flask_adaptive, channel 0x2B): set 0 <- ak_rti
     * (fallback + 24 rules, rules 0-23), set 1 <- ak_alt (fallback + 11 rules,
     * rules 24-34), packed in node/child/trigger order. ak_rti and ak_alt are
     * still real behaviors; this node only copies their tables into the
     * runtime pool. App edits and deletions saved over channel 0x2B win on
     * boot. */
    fak_defaults {
        compatible = "flask,adaptive-defaults";
        sets = <&ak_rti &ak_alt>;
    };

    /* Boot slots for flask_tapdance (channel 0x28): seeded only when settings
     * never held the slot, so app edits (and an app-cleared slot) win. */
    td_defaults {
        compatible = "flask,tapdance-defaults";

        /* Slot 15 = Super Delete (&sdel_td): eager, 400 ms press to press. */
        super_delete {
            slot = <15>;
            term-ms = <400>;
            eager;
            bindings = <&bdel>, <&wdel_mm>, <&ldel_mm>;
        };
    };

    /* Combos = RUNTIME slots (flask_combos, channel 0x24) seeded from this
     * node: each child seeds one slot in declaration order (child i = slot
     * i); app edits and deletions persist and win on boot. These 8 mirror
     * AJ's app combos as of 2026-10-03 (slots 0-7), so a settings reset
     * restores them. All layers, global timeout and prior-idle. The two
     * thumb combos in slots 8-9 were temporary and are not seeded. */
    flask_combos_defaults {
        compatible = "flask,combos-defaults";

        ent {
            bindings = <&kp ENTER>;
            key-positions = <3 13>;
        };

        tab {
            bindings = <&kp TAB>;
            key-positions = <2 12>;
        };

        rent {
            bindings = <&kp ENTER>;
            key-positions = <16 6>;
        };

        lbtab {
            bindings = <&kp LS(TAB)>;
            key-positions = <1 11>;
        };

        rtab {
            bindings = <&kp TAB>;
            key-positions = <7 17>;
        };

        rbtab {
            bindings = <&kp LS(TAB)>;
            key-positions = <8 18>;
        };

        lesc {
            bindings = <&kp ESC>;
            key-positions = <0 10>;
        };

        resc {
            bindings = <&kp ESC>;
            key-positions = <9 19>;
        };
    };

    macros {
        shift: shift {
            compatible = "zmk,behavior-macro-one-param";
            label = "SHIFT";
            #binding-cells = <1>;
            bindings =
                <&macro_press>,
                <&kp LSHFT>,
                <&macro_tap>,
                <&macro_param_1to1 &kp MACRO_PLACEHOLDER>,
                <&macro_release>,
                <&kp LSHFT>;
        };

        as: as {
            compatible = "zmk,behavior-macro-one-param";
            label = "AS";
            #binding-cells = <1>;
            // No inter-step delay: a delayed &fas_ht press could queue behind
            // a bottom-row hold-tap pressed in the gap ("1T2" on fast rolls).
            wait-ms = <0>;
            tap-ms = <0>;
            bindings =
                <&macro_press>,
                <&macro_param_1to1 &macro_param_1to2 &fas_ht MACRO_PLACEHOLDER MACRO_PLACEHOLDER>,
                <&macro_pause_for_release>,
                <&macro_release>,
                <&macro_param_1to1 &macro_param_1to2 &fas_ht MACRO_PLACEHOLDER MACRO_PLACEHOLDER>;
        };

        /* Neru Mouse-layer chords (Neru matches modifiers exactly): the
         * laptop chord plus the missing one of Alt/Shift, hints =
         * Cmd+Opt+Shift+Space, menu = Ctrl+Opt+Shift+Space (Neru mode
         * neru_mouse). Neru binds them to the laptop actions and, when the
         * mode ends (click, Return, Escape), runs ~/.local/bin/totem-layer
         * mouse: Flask SET meta to-layer 0x05 puts the board back on
         * L_MOUSE. The laptop chords (Cmd+Shift+Space, Ctrl+Opt+Space) never
         * switch layers. Only L_MOUSE uses these macros.
         * Timing: tap-ms 20 (chord held 20 ms so macOS registers it),
         * wait-ms 15 between steps; neru_m/neru_ms wait 60 ms after the
         * menu chord before the letter. */
        neru_hints: neru_hints {
            compatible = "zmk,behavior-macro";
            label = "NERU_HINTS";
            display-name = "Neru Hints";
            #binding-cells = <0>;
            wait-ms = <15>;
            tap-ms = <20>;
            bindings = <&kp LG(LA(LS(SPACE)))>, <&to L_BASE>;
        };

        neru_menu: neru_menu {
            compatible = "zmk,behavior-macro";
            label = "NERU_MENU";
            display-name = "Neru Menu";
            #binding-cells = <0>;
            wait-ms = <15>;
            tap-ms = <20>;
            bindings = <&kp LC(LA(LS(SPACE)))>, <&to L_BASE>;
        };

        neru_m: neru_m {
            compatible = "zmk,behavior-macro-one-param";
            label = "NERU_M";
            display-name = "Neru Menu + Key (to base)";
            #binding-cells = <1>;
            wait-ms = <15>;
            tap-ms = <20>;
            bindings =
                <&macro_tap>,
                <&kp LC(LA(LS(SPACE)))>,
                <&macro_wait_time 60>,
                <&macro_tap>,
                <&macro_param_1to1 &kp MACRO_PLACEHOLDER>,
                <&to L_BASE>;
        };

        neru_ms: neru_ms {
            compatible = "zmk,behavior-macro-one-param";
            label = "NERU_MS";
            display-name = "Neru Menu + Key (stay)";
            #binding-cells = <1>;
            wait-ms = <15>;
            tap-ms = <20>;
            bindings =
                <&macro_tap>,
                <&kp LC(LA(LS(SPACE)))>,
                <&macro_wait_time 60>,
                <&macro_tap>,
                <&macro_param_1to1 &kp MACRO_PLACEHOLDER>;
        };

        qu: qu {
            compatible = "zmk,behavior-macro";
            label = "QU";
            #binding-cells = <0>;
            bindings = <&kp Q &kp U>;
        };

        email_um: email_um {
            compatible = "zmk,behavior-macro";
            label = "EMAIL_UM";
            #binding-cells = <0>;
            wait-ms = <0>;
            tap-ms = <0>;
            bindings = <&kp C &kp H &kp O &kp W &kp D &kp N1 &kp N9 &kp N8 &kp AT &kp U &kp M &kp N &kp DOT &kp E &kp D &kp U>;
        };

        /* Mouse move/scroll as param-less macros. ZMK Studio cannot write
         * &mmv/&msc (behavior_input_two_axis has no ZMK_BEHAVIOR_METADATA at
         * 484a054, so Studio returns INVALID_PARAMETERS), but it can assign
         * these. Press on key down, release on key up, so a held key keeps
         * moving with the same speed/ramp/listener scaling as raw &mmv/&msc.
         * Diagonals add the X and Y fields like pointing.h MOVE(x, y).
         * Node names and display-names are matched by the Flask app. */
        /* Globe/Fn (OS) as a param-less macro so Studio and the app can assign
         * it. Held for as long as the key is held, like a real modifier. */
        globe_os: globe_os {
            compatible = "zmk,behavior-macro";
            display-name = "Globe / Fn (OS)";
            #binding-cells = <0>;
            wait-ms = <0>;
            tap-ms = <0>;
            bindings = <&macro_press &slk_globe>, <&macro_pause_for_release>, <&macro_release &slk_globe>;
        };

        mm_up: mm_up {
            compatible = "zmk,behavior-macro";
            display-name = "Mouse ↑";
            #binding-cells = <0>;
            wait-ms = <0>;
            tap-ms = <0>;
            bindings = <&macro_press &mmv MOVE_UP>, <&macro_pause_for_release>, <&macro_release &mmv MOVE_UP>;
        };
        mm_down: mm_down {
            compatible = "zmk,behavior-macro";
            display-name = "Mouse ↓";
            #binding-cells = <0>;
            wait-ms = <0>;
            tap-ms = <0>;
            bindings = <&macro_press &mmv MOVE_DOWN>, <&macro_pause_for_release>, <&macro_release &mmv MOVE_DOWN>;
        };
        mm_left: mm_left {
            compatible = "zmk,behavior-macro";
            display-name = "Mouse ←";
            #binding-cells = <0>;
            wait-ms = <0>;
            tap-ms = <0>;
            bindings = <&macro_press &mmv MOVE_LEFT>, <&macro_pause_for_release>, <&macro_release &mmv MOVE_LEFT>;
        };
        mm_right: mm_right {
            compatible = "zmk,behavior-macro";
            display-name = "Mouse →";
            #binding-cells = <0>;
            wait-ms = <0>;
            tap-ms = <0>;
            bindings = <&macro_press &mmv MOVE_RIGHT>, <&macro_pause_for_release>, <&macro_release &mmv MOVE_RIGHT>;
        };
        mm_ul: mm_ul {
            compatible = "zmk,behavior-macro";
            display-name = "Mouse ↖";
            #binding-cells = <0>;
            wait-ms = <0>;
            tap-ms = <0>;
            bindings = <&macro_press &mmv (MOVE_UP + MOVE_LEFT)>, <&macro_pause_for_release>, <&macro_release &mmv (MOVE_UP + MOVE_LEFT)>;
        };
        mm_ur: mm_ur {
            compatible = "zmk,behavior-macro";
            display-name = "Mouse ↗";
            #binding-cells = <0>;
            wait-ms = <0>;
            tap-ms = <0>;
            bindings = <&macro_press &mmv (MOVE_UP + MOVE_RIGHT)>, <&macro_pause_for_release>, <&macro_release &mmv (MOVE_UP + MOVE_RIGHT)>;
        };
        mm_dl: mm_dl {
            compatible = "zmk,behavior-macro";
            display-name = "Mouse ↙";
            #binding-cells = <0>;
            wait-ms = <0>;
            tap-ms = <0>;
            bindings = <&macro_press &mmv (MOVE_DOWN + MOVE_LEFT)>, <&macro_pause_for_release>, <&macro_release &mmv (MOVE_DOWN + MOVE_LEFT)>;
        };
        mm_dr: mm_dr {
            compatible = "zmk,behavior-macro";
            display-name = "Mouse ↘";
            #binding-cells = <0>;
            wait-ms = <0>;
            tap-ms = <0>;
            bindings = <&macro_press &mmv (MOVE_DOWN + MOVE_RIGHT)>, <&macro_pause_for_release>, <&macro_release &mmv (MOVE_DOWN + MOVE_RIGHT)>;
        };
        sc_up: sc_up {
            compatible = "zmk,behavior-macro";
            display-name = "Scroll ↑";
            #binding-cells = <0>;
            wait-ms = <0>;
            tap-ms = <0>;
            bindings = <&macro_press &msc SCRL_UP>, <&macro_pause_for_release>, <&macro_release &msc SCRL_UP>;
        };
        sc_down: sc_down {
            compatible = "zmk,behavior-macro";
            display-name = "Scroll ↓";
            #binding-cells = <0>;
            wait-ms = <0>;
            tap-ms = <0>;
            bindings = <&macro_press &msc SCRL_DOWN>, <&macro_pause_for_release>, <&macro_release &msc SCRL_DOWN>;
        };
        sc_left: sc_left {
            compatible = "zmk,behavior-macro";
            display-name = "Scroll ←";
            #binding-cells = <0>;
            wait-ms = <0>;
            tap-ms = <0>;
            bindings = <&macro_press &msc SCRL_LEFT>, <&macro_pause_for_release>, <&macro_release &msc SCRL_LEFT>;
        };
        sc_right: sc_right {
            compatible = "zmk,behavior-macro";
            display-name = "Scroll →";
            #binding-cells = <0>;
            wait-ms = <0>;
            tap-ms = <0>;
            bindings = <&macro_press &msc SCRL_RIGHT>, <&macro_pause_for_release>, <&macro_release &msc SCRL_RIGHT>;
        };
    };

    /* Boot timing for the flask_holdtap slots (0-37 = key positions,
     * 38-50 = virtual slots), key slots seeded from the hm_* nodes these
     * keys used before (280 / quick-tap 175 / prior-idle 150; GUI keys
     * tap-preferred, the rest balanced). Unlisted slots boot at 200 /
     * balanced / 0 / 0. tapping-term-ms defaults to 200 here. App edits saved
     * over channel 0x2A win on boot; a slot reset returns here. */
    flask_holdtap_defaults {
        compatible = "flask,holdtap-defaults";

        home_mods {
            key-positions = <20 31 33 34 35 36>;
            tapping-term-ms = <280>;
            quick-tap-ms = <175>;
            require-prior-idle-ms = <150>;
            flavor = "balanced";
        };

        gui_mods {
            key-positions = <32 37>;
            tapping-term-ms = <280>;
            quick-tap-ms = <175>;
            require-prior-idle-ms = <150>;
            flavor = "tap-preferred";
        };

        /* Virtual slots (a node's `slot`), seeded with the exact values of
         * the core behaviors they replace: &lt = 200 tap-preferred; &mt =
         * 200 tap-preferred quick-tap 150 (the &mt override up top);
         * as_ht = 200 tap-preferred. */
        v_nav_lt {
            key-positions = <38>;
            display-name = "Navigation layer-tap (flt_ctl)";
            flavor = "tap-preferred";
        };

        v_fn_combo {
            key-positions = <39>;
            display-name = "Function layer-tap (flt_fn)";
            flavor = "tap-preferred";
        };

        v_copy_combo {
            key-positions = <40>;
            display-name = "Copy/cut combo (11+12)";
            quick-tap-ms = <150>;
            flavor = "tap-preferred";
        };

        v_undo_combo {
            key-positions = <41>;
            display-name = "Undo/redo combo (10+11)";
            quick-tap-ms = <150>;
            flavor = "tap-preferred";
        };

        v_fn_arrows {
            key-positions = <42>;
            display-name = "Fn arrows (Fn 6-9)";
            quick-tap-ms = <150>;
            flavor = "tap-preferred";
        };

        v_autoshift {
            key-positions = <43>;
            display-name = "Autoshift digits";
            flavor = "tap-preferred";
        };

        v_sdel_layer {
            key-positions = <44>;
            display-name = "Super Delete / Layer";
            tapping-term-ms = <280>;
            quick-tap-ms = <400>;
            require-prior-idle-ms = <150>;
            flavor = "tap-preferred";
        };

        v_rep_layer {
            key-positions = <45>;
            display-name = "Repeat / Layer";
            tapping-term-ms = <280>;
            quick-tap-ms = <400>;
            require-prior-idle-ms = <150>;
            flavor = "tap-preferred";
        };

        v_mouse_layer {
            key-positions = <46>;
            display-name = "Mouse Layer";
            tapping-term-ms = <200>;
            quick-tap-ms = <0>;
            require-prior-idle-ms = <0>;
            flavor = "balanced";
        };

        v_fak_layer {
            key-positions = <47>;
            display-name = "Adaptive Key / Layer";
            tapping-term-ms = <280>;
            quick-tap-ms = <400>;
            require-prior-idle-ms = <150>;
            flavor = "tap-preferred";
        };

        /* Mouse speed thumbs (mlt / msdel / mrep / mfak share this slot). */
        v_mouse_speed {
            key-positions = <48>;
            display-name = "Mouse speed thumbs";
            tapping-term-ms = <200>;
            quick-tap-ms = <150>;
            require-prior-idle-ms = <0>;
            flavor = "hold-preferred";
        };

        v_mouse_neru_mod {
            key-positions = <50>;
            display-name = "Mouse Neru mod-taps";
            tapping-term-ms = <200>;
            quick-tap-ms = <150>;
            require-prior-idle-ms = <0>;
            flavor = "balanced";
        };

        v_leader_shift {
            key-positions = <49>;
            display-name = "Leader / Shift";
            tapping-term-ms = <200>;
            quick-tap-ms = <150>;
            require-prior-idle-ms = <150>;
            flavor = "balanced";
        };
    };

    keymap {
        compatible = "zmk,keymap";

        /* Mirrors the keymap on AJ's board (Studio RPC dump, 2026-10-03):
         * custom alpha base. Thumbs, left: &flt_fn Function (tap F18), &flt_ctl
         * Navigation (R), &ht_sdel Number (tap Super Delete); right:
         * &ht_rep Number (tap Repeat), &flt_ctl Navigation (SPACE), &ht_fak
         * Function (tap Adaptive Key). Numpad = &num_word on Navigation. */
        base {
            display-name = "Base";
            bindings = <
                                    &kp X           &kp V          &kp L                       &kp K        &kp Q                &none               &kp Y            &kp O             &kp U          &kp SQT
                                    &fht_l LCTRL N  &fht_l LALT S  &fht_l LGUI H               &kp T        &kp M                &kp P               &kp C            &fht_r RGUI A     &fht_r RALT E  &fht_r RCTRL I
            &fht_l LSHFT B          &kp F           &kp G          &kp J                       &kp D        &kp Z                &kp SEMI            &kp W            &kp COMMA         &kp DOT        &kp FSLH           &globe_os
                                                                   &flt_fn L_FUNC F18          &flt_ctl L_NAV R  &ht_sdel L_NUMBER 0  &ht_rep L_NUMBER 0  &flt_ctl L_NAV SPACE  &ht_fak L_FUNC 0
            >;
        };

        /* Navigation: held by the middle thumbs (&flt_ctl L_NAV on 33 / 36). Nav and
         * media rows, plus swapper, num_word, BT, OS toggle, reset and
         * studio_unlock. Position 4 is the mouse layer key (added after the
         * board dump this layer was copied from). */
        control {
            display-name = "Navigation";
            bindings = <
                           &kp C_VOL_UP  &kp HOME  &kp UP        &kp END    &ht_mouse L_MOUSE L_MOUSE  &swapper            &ak_alt       &kp LS(TAB)     &kp UP      &kp TAB
                           &kp C_VOL_DN  &kp LEFT  &kp DOWN      &kp RIGHT  &leader                    &caps_word          &kp ENTER     &kp LEFT        &kp DOWN    &kp RIGHT
            &kp LG(SPACE)  &kp C_MUTE    &kp C_PP  &kp C_REWIND  &kp C_FF   &sw_layout OS_NEXT         &num_word L_NUMBER  &bt BT_CLR    &studio_unlock  &to L_BASE  &bt BT_SEL 3  &sys_reset
                                                   &trans        &trans     &trans                     &bt BT_SEL 0        &bt BT_SEL 1  &bt BT_SEL 2
            >;
        };

        /* Function: F1-F24. Left outer thumb = &flt_fn (hold, tap F18),
         * right outer thumb = &ht_fak (hold). */
        fn {
            display-name = "Function";
            bindings = <
                                        &kp F1  &kp F2   &kp F3   &kp F4   &kp F13  &kp F16  &kp F17       &kp F18  &kp F19  &kp F20
                                        &kp F5  &kp F6   &kp F7   &kp F8   &kp F14  &kp F21  &kp F22       &kp F23  &kp F24  &trans
            &smart_layer L_FUNC L_FUNC  &kp F9  &kp F10  &kp F11  &kp F12  &kp F15  &trans   &trans        &trans   &trans   &trans   &trans
                                                         &trans   &trans   &trans   &trans   &mo L_NUMBER  &trans
            >;
        };

        /* Number: digits plus keypad operators (mirrored per hand), held by the
         * inner thumbs (&ht_sdel / &ht_rep). */
        sym {
            display-name = "Number";
            bindings = <
                    &kp KP_DIVIDE  &kp KP_MULTIPLY  &kp KP_MINUS  &kp KP_PLUS  &kp KP_EQUAL  &kp KP_EQUAL  &kp KP_PLUS  &kp KP_MINUS  &kp KP_MULTIPLY  &kp KP_DIVIDE
                    &kp N1         &kp N2           &kp N3        &kp N4       &kp N5        &kp N5        &kp N4       &kp N3        &kp N2           &kp N1
            &kp N0  &kp N6         &kp N7           &kp N8        &kp N9       &trans        &trans        &kp N9       &kp N8        &kp N7           &kp N6         &kp N0
                                                    &trans        &trans       &trans        &trans        &trans       &trans
            >;
        };

        /* Removed on AJ's board in Studio 2026-10-03, unused (&num_word now
         * targets Number). Node kept so layer IDs 5-10 don't shift.
         * Was: Numpad layer, latched by &num_word (auto-layer). Right-hand
         * numpad as on the Imprint; the Imprint's outer-column operators and
         * its 0 . , bottom row moved onto the inner column, the right outer key
         * and the inner right thumb (0). Digits + the num_word continue-list
         * keep it alive, anything else exits. */
        num {
            display-name = "Numpad";
            bindings = <
                    &trans  &trans  &trans  &trans  &trans  &kp MINUS  &kp N7  &kp N8  &kp N9  &kp FSLH
                    &trans  &trans  &trans  &trans  &trans  &kp COMMA  &kp N4  &kp N5  &kp N6  &kp STAR
            &trans  &trans  &trans  &trans  &trans  &trans  &kp DOT    &kp N1  &kp N2  &kp N3  &kp PLUS  &kp EQUAL
                                    &trans  &trans  &trans  &kp N0     &trans  &trans
            >;
        };

        /* Mouse layer (&ht_mouse L_MOUSE L_MOUSE on Navigation pos 4; tap toggles,
         * hold = momentary). Neru keys send the Mouse-layer chords: hints =
         * Cmd+Opt+Shift+Space (then to L_BASE to type the label); neru_menu =
         * Ctrl+Opt+Shift+Space; neru_m X = menu chord + letter X, then to L_BASE
         * (modes that take typing: g grid, r rgrid, b bisect, s scroll, c hints
         * right-click, 2 hints double-click, d hints drag, m monitor select);
         * neru_ms X = same but stays on L_MOUSE (n next monitor, p previous
         * monitor, x save cursor, z restore cursor). After the Neru mode ends
         * (click or Escape) Neru puts the board back here over raw HID
         * (totem-layer; ~50 ms after the click, a key pressed sooner still
         * types its Base letter). Unused keys are &none,
         * never &trans: on a toggled layer a &trans press would auto-exit the
         * layer and type the base key (CONFIG_ZMK_FLASK_LAYER_AUTOEXIT).
         * Home row left = firmware middle/right/left click (plain &mkp).
         * Top row left 0-3 are Neru taps with a modifier on hold (&nmod_h /
         * &nmod_m, slot 50, balanced 200 ms): Ctrl = hints, Alt = grid, Cmd =
         * rgrid, Shift = scroll mode. Tap = the Neru action; hold a mod then
         * press a click key (e.g. Cmd + LCLK on pos 13).
         * Right hand is WASD-shaped: move on 16/17/18 (left/down/right) with
         * move up above the middle finger (7); scroll up/down on 6/8, scroll
         * left/right beside move left/right (15/19).
         * Thumbs are stacking speed holds, shared by pointer and scroll, any
         * order (multipliers in the tuning block at the top). Each also taps its
         * Base key (&mlt / &msdel / &mrep / &mfak, slot 48, hold-preferred 200
         * ms: another key pressed while the thumb is down = hold at once; a
         * lone tap = F18 / R / Super Delete | Repeat / Space / Adaptive Key):
         *   32/37 L_SCROLL_SLOW  /3
         *   33/36 L_SCROLL_FAST  x3
         *   34/35 L_AMP_DOWN     /5
         * Hold any combination: they multiply (outer+inner = /15). Clicks stay
         * on the left home row.
         *
         *  hints   grid    rgrid   scroll  [mouse]   | .      scr_U  mv_U   scr_D  .
         *  bisect  MCLK    RCLK    LCLK    hdrag     | scr_L  mv_L   mv_D   mv_R   scr_R
         *  ESC  hdblclk  hrclick  menu  savepos rstpos | MB4  MB5  monSel monNxt monPrv  .
         *                  slow/3  fast x3 slower/5  | slower/5  fast x3 slow/3
         *   taps (hold-tap):  F18      R       SuperDel  | Repeat    Space   AdaptiveKey
         */
        mouse {
            display-name = "Mouse";
            bindings = <
                         &nmod_h LCTRL 0          &nmod_m LALT G           &nmod_m LGUI R           &nmod_m LSHFT S          &ht_mouse L_MOUSE L_MOUSE    &none                    &sc_up                   &mm_up                   &sc_down                 &none
                         &neru_m B                &mkp MCLK                &mkp RCLK                &mkp LCLK                &neru_m D                    &sc_left                 &mm_left                 &mm_down                 &mm_right                &sc_right
&kp ESC                  &neru_m N2               &neru_m C                &neru_menu               &neru_ms X               &neru_ms Z                   &mkp MB4                 &mkp MB5                 &neru_m M                &neru_ms N               &neru_ms P               &none
                                                                           &mlt L_SCROLL_SLOW F18   &mlt L_SCROLL_FAST R    &msdel L_AMP_DOWN 0          &mrep L_AMP_DOWN 0       &mlt L_SCROLL_FAST SPACE &mfak L_SCROLL_SLOW 0
            >;
        };

        /* Layers 6 and 9 are unused spares (IDs kept so the rest don't shift). */
        mouse_slow {
            display-name = "Spare 6";
            bindings = <
        &trans  &trans  &trans  &trans  &trans    &trans  &trans  &trans  &trans  &trans
        &trans  &trans  &trans  &trans  &trans    &trans  &trans  &trans  &trans  &trans
&trans  &trans  &trans  &trans  &trans  &trans    &trans  &trans  &trans  &trans  &trans  &trans
                        &trans  &trans  &trans    &trans  &trans  &trans
            >;
        };

        /* ZMK's total layer capacity is the compiled devicetree child count;
         * Studio's add-layer only reuses slots freed by remove-layer. All 11
         * layers are now in use (no blank spares left): 7-10 are speed overlays. */
        /* Speed layers 7, 8, 10 (shared by pointer and scroll). All &trans; the
         * scaling is the &mmv / &msc input-listener overrides at the top. */
        scroll_slow {
            display-name = "Speed Slow /3";
            bindings = <
        &trans  &trans  &trans  &trans  &trans    &trans  &trans  &trans  &trans  &trans
        &trans  &trans  &trans  &trans  &trans    &trans  &trans  &trans  &trans  &trans
&trans  &trans  &trans  &trans  &trans  &trans    &trans  &trans  &trans  &trans  &trans  &trans
                        &trans  &trans  &trans    &trans  &trans  &trans
            >;
        };
        scroll_fast {
            display-name = "Speed Fast x3";
            bindings = <
        &trans  &trans  &trans  &trans  &trans    &trans  &trans  &trans  &trans  &trans
        &trans  &trans  &trans  &trans  &trans    &trans  &trans  &trans  &trans  &trans
&trans  &trans  &trans  &trans  &trans  &trans    &trans  &trans  &trans  &trans  &trans  &trans
                        &trans  &trans  &trans    &trans  &trans  &trans
            >;
        };
        amp_up {
            display-name = "Spare 9";
            bindings = <
        &trans  &trans  &trans  &trans  &trans    &trans  &trans  &trans  &trans  &trans
        &trans  &trans  &trans  &trans  &trans    &trans  &trans  &trans  &trans  &trans
&trans  &trans  &trans  &trans  &trans  &trans    &trans  &trans  &trans  &trans  &trans  &trans
                        &trans  &trans  &trans    &trans  &trans  &trans
            >;
        };
        amp_down {
            display-name = "Speed Slower /5";
            bindings = <
        &trans  &trans  &trans  &trans  &trans    &trans  &trans  &trans  &trans  &trans
        &trans  &trans  &trans  &trans  &trans    &trans  &trans  &trans  &trans  &trans
&trans  &trans  &trans  &trans  &trans  &trans    &trans  &trans  &trans  &trans  &trans  &trans
                        &trans  &trans  &trans    &trans  &trans  &trans
            >;
        };
    };

    conditional_layers { compatible = "zmk,conditional-layers"; };
};
